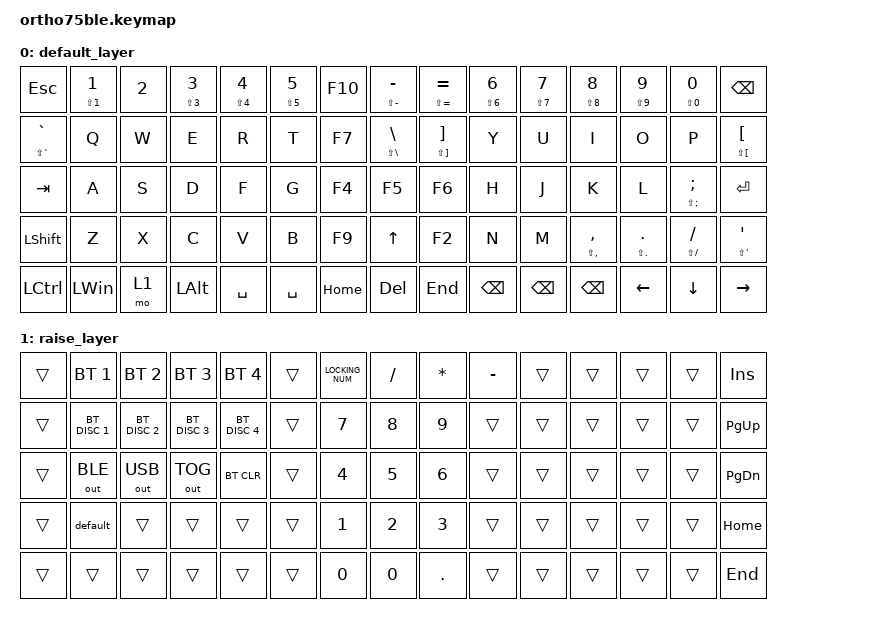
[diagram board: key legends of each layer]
/*
 * Copyright (c) 2021 The ZMK Contributors
 *
 * SPDX-License-Identifier: MIT
 */

#include <behaviors.dtsi>
#include <dt-bindings/zmk/bt.h>
#include <dt-bindings/zmk/keys.h>
#include <dt-bindings/zmk/outputs.h>

&lt {
    flavor = "balanced";
    tapping-term-ms = <100>;
};

/ {
    combos {
        compatible = "zmk,combos";

        combo_bksp {
            bindings = <&kp BACKSPACE>;
            key-positions = <19 20>;
            layers = <0>;
        };

        combo_enter {
            bindings = <&kp ENTER>;
            key-positions = <34 35>;
        };

        combo_delete {
            bindings = <&kp DELETE>;
            key-positions = <49 50>;
        };

        combo_ctrlenter {
            bindings = <&kp LC(ENTER)>;
            key-positions = <65 50>;
        };

        combo_pad {
            bindings = <&tog 0>;
            key-positions = <71 70>;
        };
    };

    macros {
        default: default {
            compatible = "zmk,behavior-macro";
            #binding-cells = <0>;
            bindings = <&kp N1 &kp N2 &kp N1 &kp N2 &kp N1 &kp N2 &kp N3>;
            label = "DEFAULT";
        };
    };

    behaviors {
        auto_shift: auto_shift {
            compatible = "zmk,behavior-hold-tap";
            label = "AUTO_SHIFT";
            bindings = <&kp>, <&kp>;

            #binding-cells = <2>;
            tapping-term-ms = <175>;
            quick-tap-ms = <0>;
            flavor = "tap-preferred";
        };
    };

    keymap {
        compatible = "zmk,keymap";

        default_layer {
            bindings = <
&kp ESC                      &auto_shift LS(N1) N1  &kp NUMBER_2  &auto_shift LS(N3) N3  &auto_shift LS(N4) N4  &auto_shift LS(N5) N5  &kp F10   &auto_shift LS(MINUS) MINUS  &auto_shift LS(EQUAL) EQUAL                  &auto_shift LS(N6) N6  &auto_shift LS(N7) N7  &auto_shift LS(N8) N8        &auto_shift LS(N9) N9    &auto_shift LS(N0) N0        &kp BSPC
&auto_shift LS(GRAVE) GRAVE  &kp Q                  &kp W         &kp E                  &kp R                  &kp T                  &kp F7    &auto_shift LS(BSLH) BSLH    &auto_shift LS(RIGHT_BRACKET) RIGHT_BRACKET  &kp Y                  &kp U                  &kp I                        &kp O                    &kp P                        &auto_shift LS(LBKT) LBKT
&kp TAB                      &kp A                  &kp S         &kp D                  &kp F                  &kp G                  &kp F4    &kp F5                       &kp F6                                       &kp H                  &kp J                  &kp K                        &kp L                    &auto_shift LS(SEMI) SEMI    &kp ENTER
&kp LSHIFT                   &kp Z                  &kp X         &kp C                  &kp V                  &kp B                  &kp F9    &kp UP                       &kp F2                                       &kp N                  &kp M                  &auto_shift LS(COMMA) COMMA  &auto_shift LS(DOT) DOT  &auto_shift LS(SLASH) SLASH  &auto_shift LS(SQT) SQT
&kp LCTRL                    &kp LEFT_WIN           &mo 1         &kp LEFT_ALT           &kp SPACE              &kp SPACE              &kp HOME  &kp DELETE                   &kp END                                      &kp BACKSPACE          &kp BACKSPACE          &kp BACKSPACE                &kp LEFT_ARROW           &kp DOWN_ARROW               &kp RIGHT_ARROW
            >;
        };

        raise_layer {
            bindings = <
&trans  &bt BT_SEL 1   &bt BT_SEL 2   &bt BT_SEL 3   &bt BT_SEL 4   &trans  &kp LOCKING_NUM  &kp SLASH     &kp ASTERISK  &kp MINUS  &trans  &trans  &trans  &trans  &kp INS
&trans  &bt BT_DISC 1  &bt BT_DISC 2  &bt BT_DISC 3  &bt BT_DISC 4  &trans  &kp N7           &kp N8        &kp N9        &trans     &trans  &trans  &trans  &trans  &kp PG_UP
&trans  &out OUT_BLE   &out OUT_USB   &out OUT_TOG   &bt BT_CLR     &trans  &kp NUMBER_4     &kp N5        &kp NUMBER_6  &trans     &trans  &trans  &trans  &trans  &kp PAGE_DOWN
&trans  &default       &trans         &trans         &trans         &trans  &kp NUMBER_1     &kp NUMBER_2  &kp NUMBER_3  &trans     &trans  &trans  &trans  &trans  &kp HOME
&trans  &trans         &trans         &trans         &trans         &trans  &kp N0           &kp N0        &kp PERIOD    &trans     &trans  &trans  &trans  &trans  &kp END
            >;
        };
    };
};
